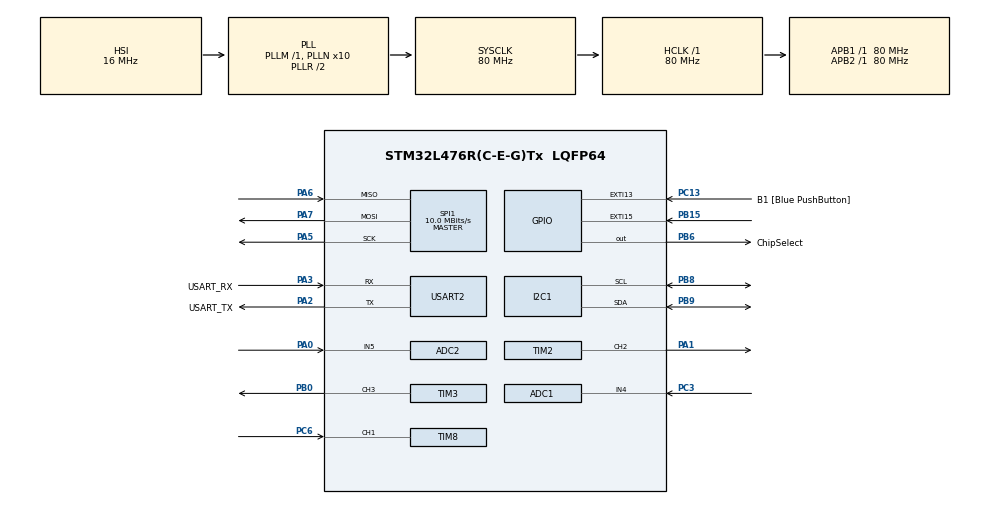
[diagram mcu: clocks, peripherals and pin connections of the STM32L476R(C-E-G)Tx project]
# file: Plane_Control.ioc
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ADC1.Channel-0\#ChannelRegularConversion=ADC_CHANNEL_4
ADC1.ContinuousConvMode=DISABLE
ADC1.NbrOfConversionFlag=1
ADC1.OffsetNumber-0\#ChannelRegularConversion=ADC_OFFSET_NONE
ADC1.Rank-0\#ChannelRegularConversion=1
ADC1.SamplingTime-0\#ChannelRegularConversion=ADC_SAMPLETIME_2CYCLES_5
ADC1.master=1
ADC2.Channel-0\#ChannelRegularConversion=ADC_CHANNEL_5
ADC2.NbrOfConversionFlag=1
ADC2.OffsetNumber-0\#ChannelRegularConversion=ADC_OFFSET_NONE
ADC2.Rank-0\#ChannelRegularConversion=1
ADC2.SamplingTime-0\#ChannelRegularConversion=ADC_SAMPLETIME_2CYCLES_5
I2C1.Timing=0x10D19CE4
Mcu.Family=STM32L4
Mcu.Name=STM32L476R(C-E-G)Tx
Mcu.Package=LQFP64
NVIC.EXTI15_10_IRQn=true\:0\:0\:false\:false\:true\:true\:true\:true
NVIC.PriorityGroup=NVIC_PRIORITYGROUP_4
NVIC.TIM8_CC_IRQn=true\:0\:0\:false\:false\:true\:true\:true\:true
NVIC.USART2_IRQn=true\:0\:0\:false\:false\:true\:true\:true\:true
PA0.Signal=ADCx_IN5
PA1.Signal=S_TIM2_CH2
PA13\ (JTMS-SWDIO).GPIO_Label=TMS
PA13\ (JTMS-SWDIO).Signal=SYS_JTMS-SWDIO
PA14\ (JTCK-SWCLK).GPIO_Label=TCK
PA14\ (JTCK-SWCLK).Signal=SYS_JTCK-SWCLK
PA2.GPIO_Label=USART_TX
PA2.GPIO_Mode=GPIO_MODE_AF_PP
PA2.GPIO_PuPd=GPIO_NOPULL
PA2.GPIO_Speed=GPIO_SPEED_FREQ_VERY_HIGH
PA2.Mode=Asynchronous
PA2.Signal=USART2_TX
PA3.GPIO_Label=USART_RX
PA3.GPIO_Mode=GPIO_MODE_AF_PP
PA3.GPIO_PuPd=GPIO_NOPULL
PA3.GPIO_Speed=GPIO_SPEED_FREQ_VERY_HIGH
PA3.Mode=Asynchronous
PA3.Signal=USART2_RX
PA5.Mode=Full_Duplex_Master
PA5.Signal=SPI1_SCK
PA6.Mode=Full_Duplex_Master
PA6.Signal=SPI1_MISO
PA7.Mode=Full_Duplex_Master
PA7.Signal=SPI1_MOSI
PB0.Signal=S_TIM3_CH3
PB15.GPIO_ModeDefaultEXTI=GPIO_MODE_IT_FALLING
PB15.Signal=GPXTI15
PB3\ (JTDO-TRACESWO).GPIO_Label=SWO
PB3\ (JTDO-TRACESWO).Signal=SYS_JTDO-SWO
PB6.GPIO_Label=ChipSelect
PB6.Signal=GPIO_Output
PB8.Mode=I2C
PB8.Signal=I2C1_SCL
PB9.Mode=I2C
PB9.Signal=I2C1_SDA
PC13.GPIO_Label=B1 [Blue PushButton]
PC13.GPIO_ModeDefaultEXTI=GPIO_MODE_IT_FALLING
PC13.GPIO_PuPd=GPIO_NOPULL
PC13.Signal=GPXTI13
PC14-OSC32_IN\ (PC14).Signal=RCC_OSC32_IN
PC15-OSC32_OUT\ (PC15).Signal=RCC_OSC32_OUT
PC3.Signal=ADCx_IN4
PC6.Signal=S_TIM8_CH1
PH0-OSC_IN\ (PH0).Signal=RCC_OSC_IN
PH1-OSC_OUT\ (PH1).Signal=RCC_OSC_OUT
ProjectManager.HeapSize=0x200
ProjectManager.StackSize=0x400
ProjectManager.TargetToolchain=STM32CubeIDE
RCC.ADCFreq_Value=64000000
RCC.AHBFreq_Value=80000000
RCC.APB1Freq_Value=80000000
RCC.APB1TimFreq_Value=80000000
RCC.APB2Freq_Value=80000000
RCC.APB2TimFreq_Value=80000000
RCC.CortexFreq_Value=80000000
RCC.HCLKFreq_Value=80000000
RCC.HSE_VALUE=8000000
RCC.HSI_VALUE=16000000
RCC.LSE_VALUE=32768
RCC.MSI_VALUE=4000000
RCC.PLLN=10
RCC.PLLSourceVirtual=RCC_PLLSOURCE_HSI
RCC.PREFETCH_ENABLE=1
RCC.SYSCLKFreq_VALUE=80000000
RCC.SYSCLKSource=RCC_SYSCLKSOURCE_PLLCLK
RCC.USBFreq_Value=64000000
RCC.VCOOutputFreq_Value=160000000
SH.ADCx_IN4.0=ADC1_IN4,IN4-Single-Ended
SH.ADCx_IN5.0=ADC2_IN5,IN5-Single-Ended
SH.S_TIM2_CH2.0=TIM2_CH2,PWM Generation2 CH2
SH.S_TIM3_CH3.0=TIM3_CH3,PWM Generation3 CH3
SH.S_TIM8_CH1.0=TIM8_CH1,Input_Capture1_from_TI1
SPI1.BaudRatePrescaler=SPI_BAUDRATEPRESCALER_8
SPI1.CLKPhase=SPI_PHASE_2EDGE
SPI1.CLKPolarity=SPI_POLARITY_HIGH
SPI1.CalculateBaudRate=10.0 MBits/s
SPI1.DataSize=SPI_DATASIZE_8BIT
SPI1.Direction=SPI_DIRECTION_2LINES
SPI1.Mode=SPI_MODE_MASTER
SPI1.VirtualType=VM_MASTER
TIM2.AutoReloadPreload=TIM_AUTORELOAD_PRELOAD_ENABLE
TIM2.Channel-PWM\ Generation2\ CH2=TIM_CHANNEL_2
TIM2.Period=20000-1
TIM2.Prescaler=80-1
TIM2.Pulse-PWM\ Generation2\ CH2=1000
TIM3.AutoReloadPreload=TIM_AUTORELOAD_PRELOAD_ENABLE
TIM3.Channel-PWM\ Generation3\ CH3=TIM_CHANNEL_3
TIM3.Period=1000-1
TIM3.Prescaler=4-1
TIM8.AutoReloadPreload=TIM_AUTORELOAD_PRELOAD_ENABLE
TIM8.Channel-Input_Capture1_from_TI1=TIM_CHANNEL_1
TIM8.Prescaler=80-1
USART2.VirtualMode-Asynchronous=VM_ASYNC
VP_TIM2_VS_ClockSourceINT.Mode=Internal
board=NUCLEO-L476RG

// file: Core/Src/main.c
/* USER CODE BEGIN Header */
/**
  ******************************************************************************
  * @file           : main.c
  * @brief          : Main program body
  ******************************************************************************
  * @attention
  *
  * Copyright (c) 2026 STMicroelectronics.
  * All rights reserved.
  *
  * This software is licensed under terms that can be found in the LICENSE file
  * in the root directory of this software component.
  * If no LICENSE file comes with this software, it is provided AS-IS.
  *
  ******************************************************************************
  */
/* USER CODE END Header */
#include "main.h"

/* USER CODE BEGIN Includes */
#include <stdio.h>
#include <string.h>

#include "ssd1306.h"
#include "ssd1306_fonts.h"

#include "ds1307_for_stm32_hal.h"
/* USER CODE END Includes */

/* USER CODE BEGIN PTD */
typedef enum {
    MANUAL = 0,
    AUTOPILOT = 1,
} control_mode_t;
/* USER CODE END PTD */

/* USER CODE BEGIN PD */
#define UART_MAX_DELAY 1000
#define ADC_MAX_DELAY 1000

#define readMask  0x80
#define writeMask 0x00

// Bank 0
#define ICM_REG_WHO_AM_I              0x00
#define ICM_REG_USER_CTRL             0x03
#define ICM_REG_LP_CONFIG             0x05
#define ICM_REG_PWR_MGMT_1            0x06
#define ICM_REG_ACCEL_XOUT_H          0x2D
#define ICM_REG_EXT_SLV_SENS_DATA_00  0x3B
#define ICM_REG_BANK_SEL              0x7F

// Bank 3
#define ICM_REG_I2C_MST_ODR_CONFIG    0x00
#define ICM_REG_I2C_MST_CTRL          0x01
#define ICM_REG_I2C_SLV0_ADDR         0x03
#define ICM_REG_I2C_SLV0_REG          0x04
#define ICM_REG_I2C_SLV0_CTRL         0x05
#define ICM_REG_I2C_SLV0_DO           0x06

// Magnetometr AK09916
#define AK09916_I2C_ADDR              0x0C
#define AK09916_ST1                   0x10
#define AK09916_CNTL2                 0x31
#define AK09916_CNTL3                 0x32

// Gyroscope
#define ICM_REG_GYRO_XOUT_H 0x33
#define ICM_REG_GYRO_XOUT_L 0x34

#define GYRO_SMPLRT_DIV 0x00
#define GYRO_CONFIG 0x01
#define GYRO_RANGE 0x02

// RTC
#define DS1307_ADDR (0x68 << 1)
#define DEC_TO_BCD(val)    ((((val) / 10) << 4) | ((val) % 10))

// Other definitions
#define FONT Font_6x8

/* USER CODE END PD */

ADC_HandleTypeDef hadc1;
ADC_HandleTypeDef hadc2;

I2C_HandleTypeDef hi2c1;

SPI_HandleTypeDef hspi1;

TIM_HandleTypeDef htim2;
TIM_HandleTypeDef htim3;
TIM_HandleTypeDef htim8;

UART_HandleTypeDef huart2;

/* USER CODE BEGIN PV */
static const uint8_t TMP102_ADDR = 0x48 << 1; // Use 8-bit address
static const uint8_t REG_TEMP = 0x00;
/* USER CODE END PV */

void SystemClock_Config(void);
void PeriphCommonClock_Config(void);
static void MX_GPIO_Init(void);
static void MX_ADC1_Init(void);
static void MX_SPI1_Init(void);
static void MX_TIM2_Init(void);
static void MX_USART2_UART_Init(void);
static void MX_TIM3_Init(void);
static void MX_ADC2_Init(void);
static void MX_I2C1_Init(void);
static void MX_TIM8_Init(void);

/* USER CODE BEGIN 0 */
control_mode_t mode = 0;
volatile char mode_rx[1];
uint8_t tx_buf[2];
uint8_t rx_buf[2];
uint32_t last_time = 0;
uint8_t debug_flag = 0;
float gyro_offset = 0.0f;
float gyro_angle = 0.0f;
volatile uint32_t val1 = 0;
volatile uint32_t val2 = 0;
volatile uint32_t difference = 0;
uint16_t time_ms = 0;
volatile uint32_t capture_difference = 0;
volatile uint8_t new_data_ready = 0;

void ICM_select_bank(uint8_t bank){
	uint8_t tx_buf[2];
	tx_buf[0] = writeMask | ICM_REG_BANK_SEL;
    tx_buf[1] = bank << 4;
    HAL_GPIO_WritePin(GPIOB, GPIO_PIN_6, GPIO_PIN_RESET);
    HAL_SPI_Transmit(&hspi1, tx_buf, 2, 100);
    HAL_GPIO_WritePin(GPIOB, GPIO_PIN_6, GPIO_PIN_SET);
}

void ICM_write_reg(uint8_t REG_NAME, uint8_t val){
	uint8_t tx_buf[2];
	tx_buf[0] = writeMask | REG_NAME;
	tx_buf[1] = val;
	HAL_GPIO_WritePin(GPIOB, GPIO_PIN_6, GPIO_PIN_RESET);
	HAL_SPI_Transmit(&hspi1, tx_buf, 2, 100);
	HAL_GPIO_WritePin(GPIOB, GPIO_PIN_6, GPIO_PIN_SET);

}

void ICM_read_reg(uint8_t REG_NAME, uint8_t *buffer, uint8_t len){
	uint8_t reg_addr[2];
	reg_addr[0] = readMask | REG_NAME;
	HAL_GPIO_WritePin(GPIOB, GPIO_PIN_6, GPIO_PIN_RESET);
	HAL_SPI_Transmit(&hspi1, reg_addr, 1, 100);
	HAL_SPI_Receive(&hspi1, buffer, len, 100);
	HAL_GPIO_WritePin(GPIOB, GPIO_PIN_6, GPIO_PIN_SET);
}

void ICM_mag_write(uint8_t reg, uint8_t val) {
    ICM_select_bank(3);
    ICM_write_reg(ICM_REG_I2C_SLV0_ADDR, AK09916_I2C_ADDR);
    ICM_write_reg(ICM_REG_I2C_SLV0_REG, reg);
    ICM_write_reg(ICM_REG_I2C_SLV0_DO, val);
    ICM_write_reg(ICM_REG_I2C_SLV0_CTRL, 0x80 | 1);
    HAL_Delay(20);
}

uint16_t ADC_read(ADC_HandleTypeDef adc_port){
	HAL_ADC_Start(&adc_port);
	HAL_ADC_PollForConversion(&adc_port, HAL_MAX_DELAY);
	return HAL_ADC_GetValue(&adc_port);
}

float TMP_read(I2C_HandleTypeDef i2c_port, uint8_t SENSOR_ADDR, uint8_t REG_ADDR){
	HAL_StatusTypeDef ret;
	uint8_t buf_tmp[16];
	uint16_t val;
	float temp_c;

	buf_tmp[0] = REG_ADDR;

	ret = HAL_I2C_Master_Transmit(&i2c_port, SENSOR_ADDR, buf_tmp, 1, 200);
	if ( ret != HAL_OK ) {
		temp_c = 4096.0; // Tx error flag
	}
	else {
		// Read 2 bytes from the temperature register
		ret = HAL_I2C_Master_Receive(&i2c_port, SENSOR_ADDR, buf_tmp, 2, 200);
		  if ( ret != HAL_OK ) {
		  	temp_c = -4096.0; // Rx error flag
		  }
		  else {
		  	//Combine the bytes
		  	val = ((int16_t)buf_tmp[0] << 4) | (buf_tmp[1] >> 4);
		  	// Convert to 2's complement, since temperature can be negative
		  	if ( val > 0x7FF ) {
		  	    val |= 0xF000;
		  	}
		  	// Convert to float temperature value (Celsius)
		  	temp_c = val * 0.0625;
		  	// Convert temperature to decimal format
		  	temp_c *= 100;
		  }
	}
	return(temp_c);
}

void toggleMode(void){
	mode = (control_mode_t)!mode;
}

HAL_StatusTypeDef DS1307_SetTime(I2C_HandleTypeDef *i2c_port, uint8_t year, uint8_t month, uint8_t date, uint8_t day, uint8_t hour, uint8_t min, uint8_t sec) {
    uint8_t buffer[8];

    // 1. Pierwszy bajt to adres rejestru startowego w pamięci DS1307
    buffer[0] = 0x00;

    // 2. Konwersja danych na format BCD i wypełnienie bufora
    buffer[1] = DEC_TO_BCD(sec) & 0x7F;       // Reg 0x00: Sekundy, Bit 7 (CH) = 0 (Zegar działa)
    buffer[2] = DEC_TO_BCD(min);              // Reg 0x01: Minuty
    buffer[3] = DEC_TO_BCD(hour) & 0x3F;      // Reg 0x02: Godziny (Bit 6 = 0 wymusza tryb 24-godzinny)
    buffer[4] = DEC_TO_BCD(day);               // Reg 0x03: Dzień tygodnia (1-7)
    buffer[5] = DEC_TO_BCD(date);              // Reg 0x04: Dzień miesiąca
    buffer[6] = DEC_TO_BCD(month);             // Reg 0x05: Miesiąc
    buffer[7] = DEC_TO_BCD(year);              // Reg 0x06: Rok (dwie ostatnie cyfry)

    // 3. Wysłanie całej paczki danych przez HAL_I2C_Master_Transmit
    // Wysyłamy 8 bajtów (1 bajt adresu rejestru + 7 bajtów danych czasu)
    return HAL_I2C_Master_Transmit(i2c_port, DS1307_ADDR, buffer, 8, HAL_MAX_DELAY);
}

int16_t gyro_read(void){
	int16_t gyroXRead;
	ICM_read_reg(ICM_REG_GYRO_XOUT_H, rx_buf, 1);
	gyroXRead = rx_buf[0] << 8;
	ICM_read_reg(ICM_REG_GYRO_XOUT_L, rx_buf, 1);
	gyroXRead |= rx_buf[0];

	return(gyroXRead);
}

void Update_Gyro_Angle(void) {
    uint32_t current_time = HAL_GetTick();

    if (current_time == last_time) {
        return;
    }

    float dt = (float)(current_time - last_time) / 1000.0f;
    last_time = current_time;

    int16_t raw_gyro = gyro_read();

    // to dps
    float gyro_dps = (float)raw_gyro / 32.8f;

    // subtract offset measured earlier
    gyro_dps -= gyro_offset;

    // discard value if it is very low
    if (gyro_dps > -0.5f && gyro_dps < 0.5f) {
        gyro_dps = 0.0f;
    }

    gyro_angle += gyro_dps * dt;
}

void Calibrate_Gyro(void) {
    int32_t raw_sum = 0;
    const int samples = 500;

    // Sensor must stand still at this point
    for (int i = 0; i < samples; i++) {
        raw_sum += gyro_read();
        HAL_Delay(2); // Slight delay to give sensor some time to aquire new data
    }

    // Counting medium value from samples
    gyro_offset = ((float)raw_sum / samples) / 32.8f;
}

/* USER CODE END 0 */

int main(void)
{

  /* USER CODE BEGIN 1 */
	uint32_t last;
	uint32_t now;

	uint16_t rawPot1;
	uint16_t rawPot2;
	uint16_t servoControl;
	uint16_t motorControl;

	char msg[100];
	const char* mode_names[] = {
	    "MANUAL",
	    "AUTO"
	};
	char retVal;
	char dispText[100];

	uint8_t seconds;
	uint8_t minutes;
	uint8_t hours;

	float potentiometer1Mapped = 0;
	float potentiometer2Mapped = 0;
	float servoDegrees;
	float motorPercentage;
	float tempC;
	float servoA = 0.0;

  /* USER CODE END 1 */

  /* MCU Configuration--------------------------------------------------------*/

  /* Reset of all peripherals, Initializes the Flash interface and the Systick. */
  HAL_Init();

  /* Configure the system clock */
  SystemClock_Config();

  /* Configure the peripherals common clocks */
  PeriphCommonClock_Config();

  /* Initialize all configured peripherals */
  MX_GPIO_Init();
  MX_ADC1_Init();
  MX_SPI1_Init();
  MX_TIM2_Init();
  MX_USART2_UART_Init();
  MX_TIM3_Init();
  MX_ADC2_Init();
  MX_I2C1_Init();
  MX_TIM8_Init();
  /* USER CODE BEGIN 2 */

  // Initialization of timers, interrupts and oled
  HAL_TIM_PWM_Start(&htim2, TIM_CHANNEL_2);
  HAL_TIM_PWM_Start(&htim3, TIM_CHANNEL_3);
  HAL_UART_Receive_IT (&huart2, (uint8_t*)mode_rx, 1);
  HAL_TIM_IC_Start_IT(&htim8, TIM_CHANNEL_1);

  ssd1306_Init();
  ssd1306_Fill(Black);
  ssd1306_UpdateScreen();

  //-----------------------ACCELEROMETER-----------------------------
  // Select register bank 0 and reset the sensor
  ICM_select_bank(0);
  HAL_Delay(5);
  ICM_write_reg(ICM_REG_PWR_MGMT_1, 0x80);
  HAL_Delay(100);

  // 1. Read sensor register and check it
  do {
  	ICM_read_reg(ICM_REG_WHO_AM_I, rx_buf, 1);
  	sprintf(msg, "I am 0x%02X\r\n", rx_buf[0]);
  	HAL_UART_Transmit(&huart2, (uint8_t*)msg, strlen(msg), HAL_MAX_DELAY);
  	HAL_Delay(50);
  } while (rx_buf[0] != 0xEA);

  // 2. Sensor Wakeup and I2C configuration
  ICM_write_reg(ICM_REG_PWR_MGMT_1, 0x01);          // Wakeup, Auto clock speed
  HAL_Delay(10);

  // 3. set up gyroscope parameters - +/-1000 dps
  ICM_select_bank(2);
  ICM_write_reg(GYRO_SMPLRT_DIV, 0x00);
  ICM_write_reg(GYRO_CONFIG, GYRO_RANGE << 1);
  ICM_select_bank(0);

  DS1307_Init(&hi2c1);
  DS1307_SetClockHalt(0);
  /* setup date and time
  DS1307_SetDate(26);
  DS1307_SetMonth(10);
  DS1307_SetYear(2026);
  DS1307_SetDayOfWeek(1);
  DS1307_SetHour(15);
  DS1307_SetMinute(21);
  DS1307_SetSecond(0);
  */

  // Gyroscope calibration
  Calibrate_Gyro();

  last = HAL_GetTick();

  /* USER CODE END 2 */

  /* Infinite loop */
  /* USER CODE BEGIN WHILE */

  while (1)
  {
	  //--------------------------------------------------
	  // Read values from potetiometers, map it and set PWM signal accordingly

	  now = HAL_GetTick();
	  if(now - last >= 50){
		  // Read raw values from potentiometer
		  rawPot1 = ADC_read(hadc1);
		  rawPot2 = ADC_read(hadc2);

		  // Get time
		  seconds = DS1307_GetSecond();
		  minutes = DS1307_GetMinute();
		  hours = DS1307_GetHour();

		  // Read temperature from thermometer
		  tempC = TMP_read(hi2c1, TMP102_ADDR, REG_TEMP);

		  // Read data from gyro
		  Update_Gyro_Angle();

		  // Read input capture
		  if (new_data_ready)
		      {
		          uint32_t diff_copy = capture_difference;
		          new_data_ready = 0;

		          if (diff_copy > 0) {
		              time_ms = (float)diff_copy / 1000.0f;
		          }
		      }

		  if(mode == MANUAL){
			  // Potentiometer 1 read and servo controll
			  potentiometer1Mapped = (((float)rawPot1 / 4096.0f) * 1500.0f) + 750.0f;
			  servoControl = (uint16_t)potentiometer1Mapped;

			  // Potentiometer 2 read and motor controll

			  potentiometer2Mapped = (((float)rawPot2 / 4096.0f) * 1000.0f);
			  motorControl = (uint16_t)potentiometer2Mapped;

			  servoDegrees = ((float)rawPot1 / 4096.0f) * 180.0f;
			  motorPercentage = ((float)rawPot2 / 4096.0f) * 100.0f;

		  }

		  else if(mode == AUTOPILOT){
			  servoControl = 1500;
			  if(gyro_angle > 180.0 || gyro_angle < 0.0){
				  servoA = 0.0;
			  }
			  else{
				  servoA = gyro_angle;
			  }
			  servoControl = ((servoA/180.0f)*1500.0f) + 750.0f;
			  motorControl = 500;

			  servoDegrees = servoA;
			  motorPercentage = 50.0;

		  }

		  // Steer servomotor
		  __HAL_TIM_SET_COMPARE(&htim2, TIM_CHANNEL_2, servoControl);

		  // If value of PWM is 25% or less, do not set output timer
		  // This is due to the fact that it might damage microcontroller
		  if (motorControl > 250){
			  __HAL_TIM_SET_COMPARE(&htim3, TIM_CHANNEL_3, motorControl);
		  }
		  else{
			  __HAL_TIM_SET_COMPARE(&htim3, TIM_CHANNEL_3, 0);
		  }

		  //--------------------------------------------------
		  // Display relevant data on oled

		  sprintf(dispText, "%5.1f deg | %5.1f %%", servoDegrees, motorPercentage);
		  ssd1306_SetCursor(1, 1);
		  retVal = ssd1306_WriteString(dispText, FONT, White);

		  ssd1306_SetCursor(1, 12);
		  sprintf(dispText, " %u.%02u C  |  %s    ", ((unsigned int)tempC / 100), ((unsigned int)tempC % 100), mode_names[mode]);
		  retVal = ssd1306_WriteString(dispText, FONT, White);

		  ssd1306_SetCursor(1, 23);
		  sprintf(dispText, "%02u:%02u:%02u  |  %3.1f", hours, minutes, seconds, gyro_angle);
		  retVal = ssd1306_WriteString(dispText, FONT, White);

		  ssd1306_UpdateScreen();

		  // Debug code fragment
		  if(debug_flag){
			  sprintf(msg, "servo: %u, motor: %u, temp: %4.2f, mode: %s, time: %02u:%02u:%02u, angle: %3.1f, IC:%u ms\r\n", rawPot1, rawPot2, tempC, mode_names[mode], hours, minutes, seconds, gyro_angle, time_ms);
			  HAL_UART_Transmit(&huart2, (uint8_t*)msg, strlen(msg), HAL_MAX_DELAY);
			  debug_flag = 0;
		  }

		  last = HAL_GetTick();
	  }

	  //HAL_UART_Transmit(&huart2, (uint8_t*)tx_buffer, strlen(tx_buffer), HAL_MAX_DELAY);
	  //HAL_Delay(100);

    /* USER CODE END WHILE */

  }
}

void SystemClock_Config(void)
{
  RCC_OscInitTypeDef RCC_OscInitStruct = {0};
  RCC_ClkInitTypeDef RCC_ClkInitStruct = {0};

  /** Configure the main internal regulator output voltage
  */
  if (HAL_PWREx_ControlVoltageScaling(PWR_REGULATOR_VOLTAGE_SCALE1) != HAL_OK)
  {
    Error_Handler();
  }

  /** Initializes the RCC Oscillators according to the specified parameters
  * in the RCC_OscInitTypeDef structure.
  */
  RCC_OscInitStruct.OscillatorType = RCC_OSCILLATORTYPE_HSI;
  RCC_OscInitStruct.HSIState = RCC_HSI_ON;
  RCC_OscInitStruct.HSICalibrationValue = RCC_HSICALIBRATION_DEFAULT;
  RCC_OscInitStruct.PLL.PLLState = RCC_PLL_ON;
  RCC_OscInitStruct.PLL.PLLSource = RCC_PLLSOURCE_HSI;
  RCC_OscInitStruct.PLL.PLLM = 1;
  RCC_OscInitStruct.PLL.PLLN = 10;
  RCC_OscInitStruct.PLL.PLLP = RCC_PLLP_DIV7;
  RCC_OscInitStruct.PLL.PLLQ = RCC_PLLQ_DIV2;
  RCC_OscInitStruct.PLL.PLLR = RCC_PLLR_DIV2;
  if (HAL_RCC_OscConfig(&RCC_OscInitStruct) != HAL_OK)
  {
    Error_Handler();
  }

  /** Initializes the CPU, AHB and APB buses clocks
  */
  RCC_ClkInitStruct.ClockType = RCC_CLOCKTYPE_HCLK|RCC_CLOCKTYPE_SYSCLK
                              |RCC_CLOCKTYPE_PCLK1|RCC_CLOCKTYPE_PCLK2;
  RCC_ClkInitStruct.SYSCLKSource = RCC_SYSCLKSOURCE_PLLCLK;
  RCC_ClkInitStruct.AHBCLKDivider = RCC_SYSCLK_DIV1;
  RCC_ClkInitStruct.APB1CLKDivider = RCC_HCLK_DIV1;
  RCC_ClkInitStruct.APB2CLKDivider = RCC_HCLK_DIV1;

  if (HAL_RCC_ClockConfig(&RCC_ClkInitStruct, FLASH_LATENCY_4) != HAL_OK)
  {
    Error_Handler();
  }
}

void PeriphCommonClock_Config(void)
{
  RCC_PeriphCLKInitTypeDef PeriphClkInit = {0};

  /** Initializes the peripherals clock
  */
  PeriphClkInit.PeriphClockSelection = RCC_PERIPHCLK_ADC;
  PeriphClkInit.AdcClockSelection = RCC_ADCCLKSOURCE_PLLSAI1;
  PeriphClkInit.PLLSAI1.PLLSAI1Source = RCC_PLLSOURCE_HSI;
  PeriphClkInit.PLLSAI1.PLLSAI1M = 1;
  PeriphClkInit.PLLSAI1.PLLSAI1N = 8;
  PeriphClkInit.PLLSAI1.PLLSAI1P = RCC_PLLP_DIV7;
  PeriphClkInit.PLLSAI1.PLLSAI1Q = RCC_PLLQ_DIV2;
  PeriphClkInit.PLLSAI1.PLLSAI1R = RCC_PLLR_DIV2;
  PeriphClkInit.PLLSAI1.PLLSAI1ClockOut = RCC_PLLSAI1_ADC1CLK;
  if (HAL_RCCEx_PeriphCLKConfig(&PeriphClkInit) != HAL_OK)
  {
    Error_Handler();
  }
}

static void MX_ADC1_Init(void)
{

  ADC_MultiModeTypeDef multimode = {0};
  ADC_ChannelConfTypeDef sConfig = {0};

  /** Common config
  */
  hadc1.Instance = ADC1;
  hadc1.Init.ClockPrescaler = ADC_CLOCK_ASYNC_DIV1;
  hadc1.Init.Resolution = ADC_RESOLUTION_12B;
  hadc1.Init.DataAlign = ADC_DATAALIGN_RIGHT;
  hadc1.Init.ScanConvMode = ADC_SCAN_DISABLE;
  hadc1.Init.EOCSelection = ADC_EOC_SINGLE_CONV;
  hadc1.Init.LowPowerAutoWait = DISABLE;
  hadc1.Init.ContinuousConvMode = DISABLE;
  hadc1.Init.NbrOfConversion = 1;
  hadc1.Init.DiscontinuousConvMode = DISABLE;
  hadc1.Init.ExternalTrigConv = ADC_SOFTWARE_START;
  hadc1.Init.ExternalTrigConvEdge = ADC_EXTERNALTRIGCONVEDGE_NONE;
  hadc1.Init.DMAContinuousRequests = DISABLE;
  hadc1.Init.Overrun = ADC_OVR_DATA_PRESERVED;
  hadc1.Init.OversamplingMode = DISABLE;
  if (HAL_ADC_Init(&hadc1) != HAL_OK)
  {
    Error_Handler();
  }

  /** Configure the ADC multi-mode
  */
  multimode.Mode = ADC_MODE_INDEPENDENT;
  if (HAL_ADCEx_MultiModeConfigChannel(&hadc1, &multimode) != HAL_OK)
  {
    Error_Handler();
  }

  /** Configure Regular Channel
  */
  sConfig.Channel = ADC_CHANNEL_4;
  sConfig.Rank = ADC_REGULAR_RANK_1;
  sConfig.SamplingTime = ADC_SAMPLETIME_2CYCLES_5;
  sConfig.SingleDiff = ADC_SINGLE_ENDED;
  sConfig.OffsetNumber = ADC_OFFSET_NONE;
  sConfig.Offset = 0;
  if (HAL_ADC_ConfigChannel(&hadc1, &sConfig) != HAL_OK)
  {
    Error_Handler();
  }

}

static void MX_ADC2_Init(void)
{

  ADC_ChannelConfTypeDef sConfig = {0};

  /** Common config
  */
  hadc2.Instance = ADC2;
  hadc2.Init.ClockPrescaler = ADC_CLOCK_ASYNC_DIV1;
  hadc2.Init.Resolution = ADC_RESOLUTION_12B;
  hadc2.Init.DataAlign = ADC_DATAALIGN_RIGHT;
  hadc2.Init.ScanConvMode = ADC_SCAN_DISABLE;
  hadc2.Init.EOCSelection = ADC_EOC_SINGLE_CONV;
  hadc2.Init.LowPowerAutoWait = DISABLE;
  hadc2.Init.ContinuousConvMode = DISABLE;
  hadc2.Init.NbrOfConversion = 1;
  hadc2.Init.DiscontinuousConvMode = DISABLE;
  hadc2.Init.ExternalTrigConv = ADC_SOFTWARE_START;
  hadc2.Init.ExternalTrigConvEdge = ADC_EXTERNALTRIGCONVEDGE_NONE;
  hadc2.Init.DMAContinuousRequests = DISABLE;
  hadc2.Init.Overrun = ADC_OVR_DATA_PRESERVED;
  hadc2.Init.OversamplingMode = DISABLE;
  if (HAL_ADC_Init(&hadc2) != HAL_OK)
  {
    Error_Handler();
  }

  /** Configure Regular Channel
  */
  sConfig.Channel = ADC_CHANNEL_5;
  sConfig.Rank = ADC_REGULAR_RANK_1;
  sConfig.SamplingTime = ADC_SAMPLETIME_2CYCLES_5;
  sConfig.SingleDiff = ADC_SINGLE_ENDED;
  sConfig.OffsetNumber = ADC_OFFSET_NONE;
  sConfig.Offset = 0;
  if (HAL_ADC_ConfigChannel(&hadc2, &sConfig) != HAL_OK)
  {
    Error_Handler();
  }

}

static void MX_I2C1_Init(void)
{

  hi2c1.Instance = I2C1;
  hi2c1.Init.Timing = 0x10D19CE4;
  hi2c1.Init.OwnAddress1 = 0;
  hi2c1.Init.AddressingMode = I2C_ADDRESSINGMODE_7BIT;
  hi2c1.Init.DualAddressMode = I2C_DUALADDRESS_DISABLE;
  hi2c1.Init.OwnAddress2 = 0;
  hi2c1.Init.OwnAddress2Masks = I2C_OA2_NOMASK;
  hi2c1.Init.GeneralCallMode = I2C_GENERALCALL_DISABLE;
  hi2c1.Init.NoStretchMode = I2C_NOSTRETCH_DISABLE;
  if (HAL_I2C_Init(&hi2c1) != HAL_OK)
  {
    Error_Handler();
  }

  /** Configure Analogue filter
  */
  if (HAL_I2CEx_ConfigAnalogFilter(&hi2c1, I2C_ANALOGFILTER_ENABLE) != HAL_OK)
  {
    Error_Handler();
  }

  /** Configure Digital filter
  */
  if (HAL_I2CEx_ConfigDigitalFilter(&hi2c1, 0) != HAL_OK)
  {
    Error_Handler();
  }

}

static void MX_SPI1_Init(void)
{

  /* SPI1 parameter configuration*/
  hspi1.Instance = SPI1;
  hspi1.Init.Mode = SPI_MODE_MASTER;
  hspi1.Init.Direction = SPI_DIRECTION_2LINES;
  hspi1.Init.DataSize = SPI_DATASIZE_8BIT;
  hspi1.Init.CLKPolarity = SPI_POLARITY_HIGH;
  hspi1.Init.CLKPhase = SPI_PHASE_2EDGE;
  hspi1.Init.NSS = SPI_NSS_SOFT;
  hspi1.Init.BaudRatePrescaler = SPI_BAUDRATEPRESCALER_8;
  hspi1.Init.FirstBit = SPI_FIRSTBIT_MSB;
  hspi1.Init.TIMode = SPI_TIMODE_DISABLE;
  hspi1.Init.CRCCalculation = SPI_CRCCALCULATION_DISABLE;
  hspi1.Init.CRCPolynomial = 7;
  hspi1.Init.CRCLength = SPI_CRC_LENGTH_DATASIZE;
  hspi1.Init.NSSPMode = SPI_NSS_PULSE_DISABLE;
  if (HAL_SPI_Init(&hspi1) != HAL_OK)
  {
    Error_Handler();
  }

}

static void MX_TIM2_Init(void)
{

  TIM_ClockConfigTypeDef sClockSourceConfig = {0};
  TIM_MasterConfigTypeDef sMasterConfig = {0};
  TIM_OC_InitTypeDef sConfigOC = {0};

  htim2.Instance = TIM2;
  htim2.Init.Prescaler = 80-1;
  htim2.Init.CounterMode = TIM_COUNTERMODE_UP;
  htim2.Init.Period = 20000-1;
  htim2.Init.ClockDivision = TIM_CLOCKDIVISION_DIV1;
  htim2.Init.AutoReloadPreload = TIM_AUTORELOAD_PRELOAD_ENABLE;
  if (HAL_TIM_Base_Init(&htim2) != HAL_OK)
  {
    Error_Handler();
  }
  sClockSourceConfig.ClockSource = TIM_CLOCKSOURCE_INTERNAL;
  if (HAL_TIM_ConfigClockSource(&htim2, &sClockSourceConfig) != HAL_OK)
  {
    Error_Handler();
  }
  if (HAL_TIM_PWM_Init(&htim2) != HAL_OK)
  {
    Error_Handler();
  }
  sMasterConfig.MasterOutputTrigger = TIM_TRGO_RESET;
  sMasterConfig.MasterSlaveMode = TIM_MASTERSLAVEMODE_DISABLE;
  if (HAL_TIMEx_MasterConfigSynchronization(&htim2, &sMasterConfig) != HAL_OK)
  {
    Error_Handler();
  }
  sConfigOC.OCMode = TIM_OCMODE_PWM1;
  sConfigOC.Pulse = 1000;
  sConfigOC.OCPolarity = TIM_OCPOLARITY_HIGH;
  sConfigOC.OCFastMode = TIM_OCFAST_DISABLE;
  if (HAL_TIM_PWM_ConfigChannel(&htim2, &sConfigOC, TIM_CHANNEL_2) != HAL_OK)
  {
    Error_Handler();
  }
  HAL_TIM_MspPostInit(&htim2);

}

static void MX_TIM3_Init(void)
{

  TIM_MasterConfigTypeDef sMasterConfig = {0};
  TIM_OC_InitTypeDef sConfigOC = {0};

  htim3.Instance = TIM3;
  htim3.Init.Prescaler = 4-1;
  htim3.Init.CounterMode = TIM_COUNTERMODE_UP;
  htim3.Init.Period = 1000-1;
  htim3.Init.ClockDivision = TIM_CLOCKDIVISION_DIV1;
  htim3.Init.AutoReloadPreload = TIM_AUTORELOAD_PRELOAD_ENABLE;
  if (HAL_TIM_PWM_Init(&htim3) != HAL_OK)
  {
    Error_Handler();
  }
  sMasterConfig.MasterOutputTrigger = TIM_TRGO_RESET;
  sMasterConfig.MasterSlaveMode = TIM_MASTERSLAVEMODE_DISABLE;
  if (HAL_TIMEx_MasterConfigSynchronization(&htim3, &sMasterConfig) != HAL_OK)
  {
    Error_Handler();
  }
  sConfigOC.OCMode = TIM_OCMODE_PWM1;
  sConfigOC.Pulse = 0;
  sConfigOC.OCPolarity = TIM_OCPOLARITY_HIGH;
  sConfigOC.OCFastMode = TIM_OCFAST_DISABLE;
  if (HAL_TIM_PWM_ConfigChannel(&htim3, &sConfigOC, TIM_CHANNEL_3) != HAL_OK)
  {
    Error_Handler();
  }
  HAL_TIM_MspPostInit(&htim3);

}

static void MX_TIM8_Init(void)
{

  TIM_MasterConfigTypeDef sMasterConfig = {0};
  TIM_IC_InitTypeDef sConfigIC = {0};

  htim8.Instance = TIM8;
  htim8.Init.Prescaler = 80-1;
  htim8.Init.CounterMode = TIM_COUNTERMODE_UP;
  htim8.Init.Period = 65535;
  htim8.Init.ClockDivision = TIM_CLOCKDIVISION_DIV1;
  htim8.Init.RepetitionCounter = 0;
  htim8.Init.AutoReloadPreload = TIM_AUTORELOAD_PRELOAD_ENABLE;
  if (HAL_TIM_IC_Init(&htim8) != HAL_OK)
  {
    Error_Handler();
  }
  sMasterConfig.MasterOutputTrigger = TIM_TRGO_RESET;
  sMasterConfig.MasterOutputTrigger2 = TIM_TRGO2_RESET;
  sMasterConfig.MasterSlaveMode = TIM_MASTERSLAVEMODE_DISABLE;
  if (HAL_TIMEx_MasterConfigSynchronization(&htim8, &sMasterConfig) != HAL_OK)
  {
    Error_Handler();
  }
  sConfigIC.ICPolarity = TIM_INPUTCHANNELPOLARITY_RISING;
  sConfigIC.ICSelection = TIM_ICSELECTION_DIRECTTI;
  sConfigIC.ICPrescaler = TIM_ICPSC_DIV1;
  sConfigIC.ICFilter = 0;
  if (HAL_TIM_IC_ConfigChannel(&htim8, &sConfigIC, TIM_CHANNEL_1) != HAL_OK)
  {
    Error_Handler();
  }

}

static void MX_USART2_UART_Init(void)
{

  huart2.Instance = USART2;
  huart2.Init.BaudRate = 115200;
  huart2.Init.WordLength = UART_WORDLENGTH_8B;
  huart2.Init.StopBits = UART_STOPBITS_1;
  huart2.Init.Parity = UART_PARITY_NONE;
  huart2.Init.Mode = UART_MODE_TX_RX;
  huart2.Init.HwFlowCtl = UART_HWCONTROL_NONE;
  huart2.Init.OverSampling = UART_OVERSAMPLING_16;
  huart2.Init.OneBitSampling = UART_ONE_BIT_SAMPLE_DISABLE;
  huart2.AdvancedInit.AdvFeatureInit = UART_ADVFEATURE_NO_INIT;
  if (HAL_UART_Init(&huart2) != HAL_OK)
  {
    Error_Handler();
  }

}

static void MX_GPIO_Init(void)
{
  GPIO_InitTypeDef GPIO_InitStruct = {0};

  /* GPIO Ports Clock Enable */
  __HAL_RCC_GPIOC_CLK_ENABLE();
  __HAL_RCC_GPIOH_CLK_ENABLE();
  __HAL_RCC_GPIOA_CLK_ENABLE();
  __HAL_RCC_GPIOB_CLK_ENABLE();

  /*Configure GPIO pin Output Level */
  HAL_GPIO_WritePin(ChipSelect_GPIO_Port, ChipSelect_Pin, GPIO_PIN_RESET);

  /*Configure GPIO pin : B1_Pin */
  GPIO_InitStruct.Pin = B1_Pin;
  GPIO_InitStruct.Mode = GPIO_MODE_IT_FALLING;
  GPIO_InitStruct.Pull = GPIO_NOPULL;
  HAL_GPIO_Init(B1_GPIO_Port, &GPIO_InitStruct);

  /*Configure GPIO pin : PB15 */
  GPIO_InitStruct.Pin = GPIO_PIN_15;
  GPIO_InitStruct.Mode = GPIO_MODE_IT_FALLING;
  GPIO_InitStruct.Pull = GPIO_NOPULL;
  HAL_GPIO_Init(GPIOB, &GPIO_InitStruct);

  /*Configure GPIO pin : ChipSelect_Pin */
  GPIO_InitStruct.Pin = ChipSelect_Pin;
  GPIO_InitStruct.Mode = GPIO_MODE_OUTPUT_PP;
  GPIO_InitStruct.Pull = GPIO_NOPULL;
  GPIO_InitStruct.Speed = GPIO_SPEED_FREQ_LOW;
  HAL_GPIO_Init(ChipSelect_GPIO_Port, &GPIO_InitStruct);

  /* EXTI interrupt init*/
  HAL_NVIC_SetPriority(EXTI15_10_IRQn, 0, 0);
  HAL_NVIC_EnableIRQ(EXTI15_10_IRQn);

}

/* USER CODE BEGIN 4 */
void HAL_GPIO_EXTI_Callback(uint16_t GPIO_PIN){
	if((GPIO_PIN == GPIO_PIN_13)){
		toggleMode();
	}
	else if((GPIO_PIN == GPIO_PIN_15)){
			debug_flag = 1;
		}
}

void HAL_UART_RxCpltCallback(UART_HandleTypeDef *huart){
	if(mode_rx[0] == 'A'){
		mode = 1;
	}
	else if(mode_rx[0] == 'M'){
		mode = 0;
	}

	HAL_UART_Receive_IT(&huart2, (uint8_t*)mode_rx, 1);

}

void HAL_TIM_IC_CaptureCallback(TIM_HandleTypeDef *htim)
{
    static uint32_t val1 = 0;
    static uint8_t first_edge = 1;
    uint32_t val2;

    if (htim->Instance == TIM8 && htim->Channel == HAL_TIM_ACTIVE_CHANNEL_1)
    {
        if (first_edge)
        {
            val1 = HAL_TIM_ReadCapturedValue(htim, TIM_CHANNEL_1);
            first_edge = 0;
        }
        else
        {
            val2 = HAL_TIM_ReadCapturedValue(htim, TIM_CHANNEL_1);

            if (val2 >= val1) {
                capture_difference = val2 - val1;
            } else {
                capture_difference = (htim->Init.Period - val1) + val2 + 1;
            }

            val1 = val2;
            new_data_ready = 1;
        }
    }
}
/* USER CODE END 4 */

void Error_Handler(void)
{
  __disable_irq();
  while (1)
  {
  }
}
